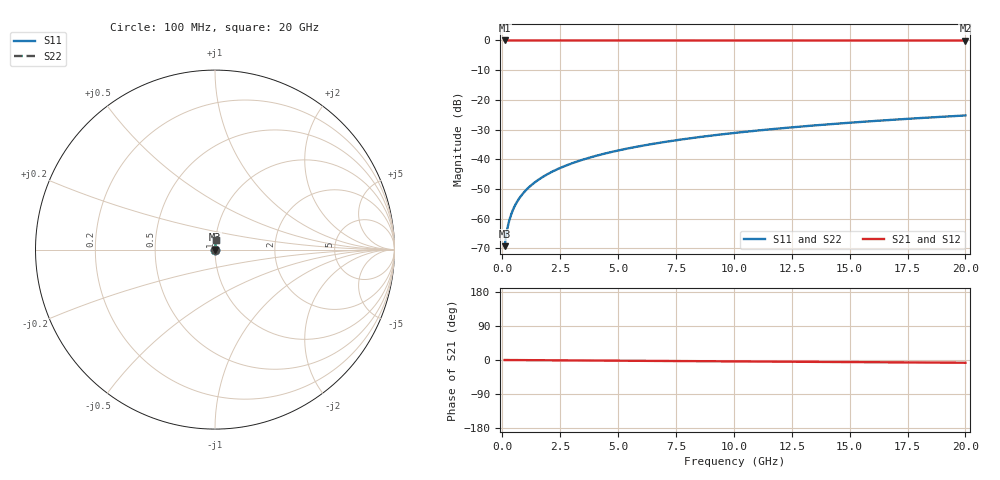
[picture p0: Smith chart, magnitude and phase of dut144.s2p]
! Touchstone file exported from HFSS 2026.1.0
!  File:  C:/ffzhzh/LocalFiles/Ansys_Project_Files/temp_train_TSV_144_1782990450_45328.aedt
!  Generated:  07:09:11 PM Jul  2, 2026
!  Design:  TSV
!  Project:  temp_train_TSV_144_1782990450_45328
! Variables:
!  h_bsmrdl = 2um
!  h_ox = 20um
!  h_rdl = 5um
!  h_sub = 58.58um
!  h_tmrdl = 5um
!  h_tsv = 58.58um
!  h_via = 3um
!  l_bsmrdl = 300um
!  l_sub = 415um
!  l_tmrdl = 200um
!  m_sub = 200um
!  pitch = 54.59um
!  r_tsv = 7.5um
!  s_tmrdl = 10um
!  w_bsmrdl = 18um
!  w_sub = 500um
!  w_tmrdl = 12um
!  x_tsv_center1 = 206um
!  x_tsv_center2 = 524um
!  x_tsv_center3 = 736um
!  x_tsv_center4 = 1054um
!  x_tsv_center5 = 1266um
!  x_tsv_center6 = 1584um
# GHz S MA R 50.000000
! Terminal data exported
! Port[1] = TSV1_1_T1
! Port[2] = TSV1_1_T2
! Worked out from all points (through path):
!   200 points, 100 MHz to 20 GHz, reference 50 ohm
!   highest |S21| = 0.00 dB at 100 MHz (marker M1); lowest = 0.0 dB at 20 GHz (marker M2)
!   group delay of S21, straight-line fit = 1.01 ps
!   lowest |S11| = -69.3 dB at 100 MHz (marker M3), VSWR 1.00, Z = 50 + j0.0307 ohm
!   |S11| at or under -10 dB: start of sweep to end of sweep
!   |S22| runs from -69.3 to -25.3 dB; largest |S21 - S12| = 3.2e-15
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0.1  0.0003435 63.4  0.9998 -0.0  0.9998 -0.0  0.0003435 63.4
! Gamma 0 0 0 0
! Port Impedance 50 0 50 0
0.2  0.0006337 75.1  0.9998 -0.1  0.9998 -0.1  0.0006337 75.1
0.3  0.0009315 79.1  0.9998 -0.1  0.9998 -0.1  0.0009315 79.1
0.4  0.001228 81.0  0.9998 -0.2  0.9998 -0.2  0.001228 81.0
0.5  0.001522 82.0  0.9998 -0.2  0.9998 -0.2  0.001522 82.0
0.6  0.001813 82.7  0.9998 -0.2  0.9998 -0.2  0.001813 82.7
0.7  0.0021 83.1  0.9998 -0.3  0.9998 -0.3  0.0021 83.1
0.8  0.002385 83.5  0.9997 -0.3  0.9997 -0.3  0.002385 83.5
1  0.00295 84.0  0.9997 -0.4  0.9997 -0.4  0.00295 84.0
1.4  0.004068 84.8  0.9997 -0.5  0.9997 -0.5  0.004068 84.8
1.7  0.004903 85.1  0.9996 -0.6  0.9996 -0.6  0.004903 85.1
2  0.005737 85.4  0.9996 -0.7  0.9996 -0.7  0.005737 85.4
2.7  0.007679 85.7  0.9995 -1.0  0.9995 -1.0  0.007679 85.7
3.5  0.009894 85.9  0.9995 -1.3  0.9995 -1.3  0.009894 85.9
4.2  0.01182 85.8  0.9994 -1.5  0.9994 -1.5  0.01182 85.8
5  0.01402 85.8  0.9993 -1.8  0.9993 -1.8  0.01402 85.8
6.8  0.01895 85.4  0.9991 -2.5  0.9991 -2.5  0.01895 85.4
8.3  0.02304 85.1  0.999 -3.0  0.999 -3.0  0.02304 85.1
10.1  0.02792 84.6  0.9988 -3.7  0.9988 -3.7  0.02792 84.6
13.4  0.03685 83.6  0.9984 -4.9  0.9984 -4.9  0.03685 83.6
16.7  0.04574 82.6  0.9979 -6.1  0.9979 -6.1  0.04574 82.6
20  0.05457 81.5  0.9973 -7.3  0.9973 -7.3  0.05457 81.5
